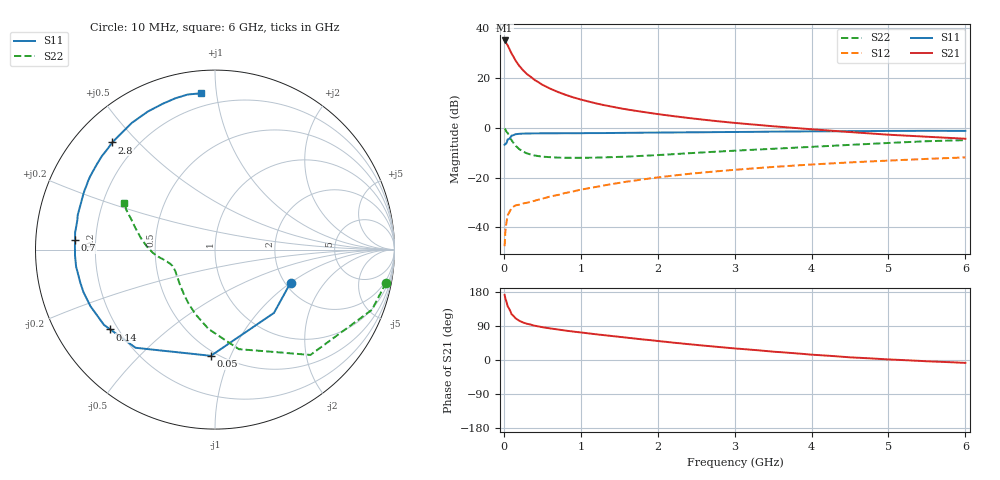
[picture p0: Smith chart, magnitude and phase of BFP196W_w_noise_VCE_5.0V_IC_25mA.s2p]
! (c) 2017  Infineon Technologies AG, Munich
! Infineon Technologies  Discrete & RF Semiconductors
! BFP196W
! VCE =  5.0 V,  IC =  25 mA
! Common Emitter S-Parameters:  Jan 2017
# GHz  S  MA  R  50
!  f  S11  S21  S12  S22
! GHz  MAG  ANG  MAG  ANG  MAG  ANG  MAG  ANG
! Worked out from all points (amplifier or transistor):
!   77 points, 10 MHz to 6 GHz, reference 50 ohm
!   highest |S21| = 35.2 dB at 10 MHz (marker M1)
!   |S21| within 3 dB of that: start of sweep to 66.08 MHz
!   unconditionally stable (mu >= 1): 891.4 MHz to 3.266 GHz
!   at 130 MHz: K = 0.28, MSG = 30.0 dB, |S12| = -31.6 dB
!   at 2.2 GHz: K = 1.05, MAG = 10.6 dB, |S12| = -19.2 dB
!   at 6 GHz: K = 0.92, MSG = 3.7 dB, |S12| = -11.8 dB
!   lowest NFmin = 1.07 dB at 450 MHz
!   S11 on the Smith chart (normalised r, x): 10 MHz: 2.14, -1.00; 50 MHz: 0.46, -0.85; 140 MHz: 0.17, -0.33; 700 MHz: 0.12, +0.03; 2.8 GHz: 0.11, +0.42; 6 GHz: 0.12, +0.91
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0.01  0.4597 -23.5  57.47 171.8  0.0042 77.3  0.9712 -10.9
0.02  0.482 -47.0  55.26 162.6  0.0083 75.8  0.9363 -21.0
0.05  0.5923 -92.2  45.79 141.4  0.0176 57.6  0.7921 -47.8
0.1  0.7036 -129.0  31.47 120.8  0.0244 41.7  0.5705 -76.5
0.14  0.7338 -142.7  24.56 113.0  0.027 37.7  0.4649 -90.2
0.15  0.7475 -145.9  22.93 110.3  0.0277 36.8  0.4439 -94.6
0.2  0.7623 -155.6  17.77 103.6  0.0287 34.2  0.3762 -106.8
0.25  0.7703 -162.1  14.46 98.9  0.0304 35.5  0.3346 -116.1
0.3  0.773 -166.6  12.14 95.6  0.0313 36.7  0.3083 -123.3
0.4  0.7797 -173.1  9.231 90.4  0.0344 39.5  0.2795 -133.7
0.5  0.7806 -177.6  7.407 86.6  0.0379 42.4  0.2649 -140.5
0.6  0.7805 178.9  6.199 83.4  0.0417 45.5  0.2586 -145.6
0.7  0.7819 176.0  5.31 80.6  0.0449 48.0  0.2532 -149.2
0.9  0.7837 170.4  4.132 75.1  0.0529 51.4  0.2514 -154.1
1.1  0.7887 165.8  3.403 70.3  0.0613 54.0  0.2522 -157.4
1.5  0.7953 157.6  2.509 61.2  0.0787 55.4  0.2623 -162.5
2.1  0.8095 145.8  1.816 48.1  0.1056 54.1  0.2909 -168.8
2.8  0.8269 133.8  1.357 34.2  0.1358 50.5  0.3361 -175.5
3.1  0.8317 129.2  1.226 29.0  0.148 48.5  0.3555 -178.7
4.1  0.8561 114.7  0.918 12.8  0.1878 41.3  0.4246 170.0
5.1  0.8722 103.8  0.718 0.6  0.2243 33.7  0.5073 159.0
6  0.8746 95.2  0.607 -7.6  0.256 26.8  0.5688 152.7
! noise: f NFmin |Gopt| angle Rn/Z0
0.45  1.07  0.43  175  0.05
0.9  1.24  0.51  -179  0.06
1.9  2.11  0.68  -152  0.12
2.4  2.53  0.74  -146  0.21
